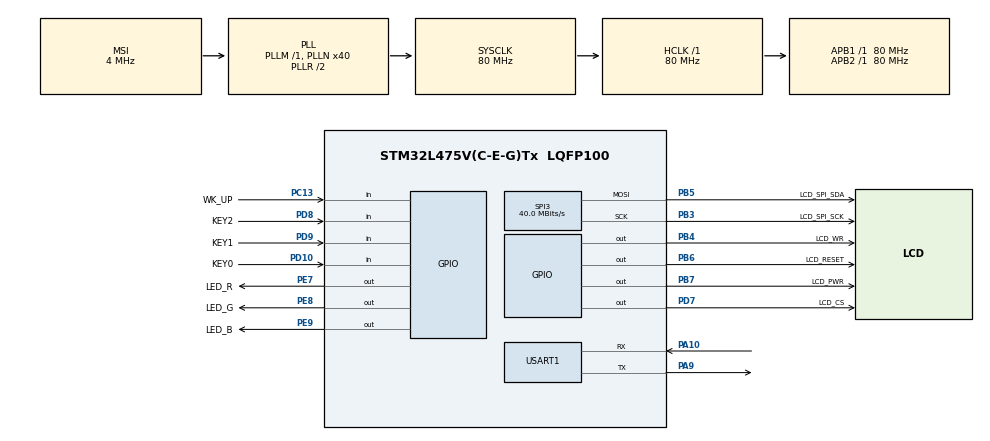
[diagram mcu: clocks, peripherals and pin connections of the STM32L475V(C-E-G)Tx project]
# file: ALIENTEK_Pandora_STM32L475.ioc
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Mcu.Family=STM32L4
Mcu.Name=STM32L475V(C-E-G)Tx
Mcu.Package=LQFP100
NVIC.PriorityGroup=NVIC_PRIORITYGROUP_0
PA10.Mode=Asynchronous
PA10.Signal=USART1_RX
PA13\ (JTMS-SWDIO).Mode=Serial_Wire
PA13\ (JTMS-SWDIO).Signal=SYS_JTMS-SWDIO
PA14\ (JTCK-SWCLK).Mode=Serial_Wire
PA14\ (JTCK-SWCLK).Signal=SYS_JTCK-SWCLK
PA9.Mode=Asynchronous
PA9.Signal=USART1_TX
PB3\ (JTDO-TRACESWO).GPIO_Label=LCD_SPI_SCK
PB3\ (JTDO-TRACESWO).Mode=TX_Only_Simplex_Unidirect_Master
PB3\ (JTDO-TRACESWO).Signal=SPI3_SCK
PB4\ (NJTRST).GPIO_Label=LCD_WR
PB4\ (NJTRST).Signal=GPIO_Output
PB5.GPIO_Label=LCD_SPI_SDA
PB5.Mode=TX_Only_Simplex_Unidirect_Master
PB5.Signal=SPI3_MOSI
PB6.GPIO_Label=LCD_RESET
PB6.Signal=GPIO_Output
PB7.GPIO_Label=LCD_PWR
PB7.Signal=GPIO_Output
PC13.GPIO_Label=WK_UP
PC13.Signal=GPIO_Input
PC14-OSC32_IN\ (PC14).Mode=LSE-External-Oscillator
PC14-OSC32_IN\ (PC14).Signal=RCC_OSC32_IN
PC15-OSC32_OUT\ (PC15).Mode=LSE-External-Oscillator
PC15-OSC32_OUT\ (PC15).Signal=RCC_OSC32_OUT
PD10.GPIO_Label=KEY0
PD10.Signal=GPIO_Input
PD7.GPIO_Label=LCD_CS
PD7.Signal=GPIO_Output
PD8.GPIO_Label=KEY2
PD8.Signal=GPIO_Input
PD9.GPIO_Label=KEY1
PD9.Signal=GPIO_Input
PE7.GPIO_Label=LED_R
PE7.PinState=GPIO_PIN_SET
PE7.Signal=GPIO_Output
PE8.GPIO_Label=LED_G
PE8.PinState=GPIO_PIN_SET
PE8.Signal=GPIO_Output
PE9.GPIO_Label=LED_B
PE9.PinState=GPIO_PIN_SET
PE9.Signal=GPIO_Output
PH0-OSC_IN\ (PH0).Mode=HSE-External-Oscillator
PH0-OSC_IN\ (PH0).Signal=RCC_OSC_IN
PH1-OSC_OUT\ (PH1).Mode=HSE-External-Oscillator
PH1-OSC_OUT\ (PH1).Signal=RCC_OSC_OUT
ProjectManager.HeapSize=0x200
ProjectManager.StackSize=0x400
ProjectManager.TargetToolchain=MDK-ARM V5
RCC.AHBFreq_Value=80000000
RCC.APB1Freq_Value=80000000
RCC.APB1TimFreq_Value=80000000
RCC.APB2Freq_Value=80000000
RCC.APB2TimFreq_Value=80000000
RCC.CortexFreq_Value=80000000
RCC.HCLKFreq_Value=80000000
RCC.HSE_VALUE=8000000
RCC.HSI_VALUE=16000000
RCC.MSI_VALUE=4000000
RCC.PLLN=40
RCC.SYSCLKFreq_VALUE=80000000
RCC.SYSCLKSource=RCC_SYSCLKSOURCE_PLLCLK
RCC.VCOOutputFreq_Value=160000000
SPI3.CLKPhase=SPI_PHASE_2EDGE
SPI3.CLKPolarity=SPI_POLARITY_HIGH
SPI3.CalculateBaudRate=40.0 MBits/s
SPI3.DataSize=SPI_DATASIZE_8BIT
SPI3.Direction=SPI_DIRECTION_2LINES
SPI3.Mode=SPI_MODE_MASTER
SPI3.VirtualType=VM_MASTER
USART1.VirtualMode-Asynchronous=VM_ASYNC
board=custom

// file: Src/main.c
/* USER CODE BEGIN Header */
/**
  ******************************************************************************
  * @file           : main.c
  * @brief          : Main program body
  ******************************************************************************
  * @attention
  *
  * <h2><center>&copy; Copyright (c) 2019 STMicroelectronics.
  * All rights reserved.</center></h2>
  *
  * This software component is licensed by ST under BSD 3-Clause license,
  * the "License"; You may not use this file except in compliance with the
  * License. You may obtain a copy of the License at:
  *                        opensource.org/licenses/BSD-3-Clause
  *
  ******************************************************************************
  */
/* USER CODE END Header */

#include "main.h"
#include "spi.h"
#include "usart.h"
#include "gpio.h"

/* USER CODE BEGIN Includes */
#include "los_base.h"
#include "mcu_init.h"
#include "los_inspect_entry.h"
#include "lcd.h"
#include "liteos_logo.h"

#include "los_task.h"
#include "los_api_task.h"
/* USER CODE END Includes */

void SystemClock_Config(void);

/* USER CODE BEGIN 0 */
static UINT32 g_Task1_Handle;
static UINT32 g_Task2_Handle;

#define TSK_PRIOR_HI 4
#define TSK_PRIOR_LO 5

static VOID *Example_Task1(UINT32 uwArg);
static VOID *Example_Task2(UINT32 uwArg);
UINT32 CreatAppTask(void);
/********************************************************/
//LCD刷屏时使用的颜色
int lcd_discolor[13] = {WHITE, BLUE, BRED, GRED, GBLUE, RED, MAGENTA,
                        GREEN, CYAN, YELLOW, BROWN, BRRED, GRAY};

/********************************************************/

/* USER CODE END 0 */

int main(void)
{

    /* MCU Configuration--------------------------------------------------------*/

    /* Reset of all peripherals, Initializes the Flash interface and the Systick. */
    HAL_Init();

    /* Configure the system clock */
    SystemClock_Config();

    /* Initialize all configured peripherals */
    MX_GPIO_Init();
    MX_USART1_UART_Init();
    MX_SPI3_Init();
    /* USER CODE BEGIN 2 */

    LCD_Init();
    LCD_DisplayOn();
    LCD_Show_Image(10, 14, 220, 50, gImage_liteos_logo);

    BACK_COLOR = WHITE;
    POINT_COLOR = BLUE;
    LCD_ShowString(10, 64, 240, 24, 24, "Pandora STM32L475");

    POINT_COLOR = RED;
    LCD_ShowString(10, 96, 240, 16, 16, "QinYUN575"
                                        "@" __DATE__);

    printf("MCU Hardware Initialize OK!\r\n");
    printf("\r\n===========================================================\r\n");
    printf("\r\n");
    printf("\tWelcome to Huawei LiteOS\r\n");
    printf("\tCompile Time:%s, %s\r\n", __TIME__, __DATE__);
    printf("\tCoding by QinYUN575\r\n");
    printf("\r\n");
    printf("===========================================================\r\n");

    if (LOS_OK != LOS_KernelInit())
    {
        printf("LiteOS Kernel Initialize Error!\r\n");
        return LOS_NOK;
    }

    printf("LiteOS Kernel Initialize Successful!\r\n");
    LOS_Inspect_Entry();
    CreatAppTask();
    LOS_Start();
    /* USER CODE END 2 */

    /* Infinite loop */
    while (1)
    {

    }
}

void SystemClock_Config(void)
{
    RCC_OscInitTypeDef RCC_OscInitStruct = {0};
    RCC_ClkInitTypeDef RCC_ClkInitStruct = {0};
    RCC_PeriphCLKInitTypeDef PeriphClkInit = {0};

    /** Configure LSE Drive Capability
  */
    HAL_PWR_EnableBkUpAccess();
    __HAL_RCC_LSEDRIVE_CONFIG(RCC_LSEDRIVE_LOW);
    /** Initializes the CPU, AHB and APB busses clocks
  */
    RCC_OscInitStruct.OscillatorType = RCC_OSCILLATORTYPE_LSE | RCC_OSCILLATORTYPE_MSI;
    RCC_OscInitStruct.LSEState = RCC_LSE_ON;
    RCC_OscInitStruct.MSIState = RCC_MSI_ON;
    RCC_OscInitStruct.MSICalibrationValue = 0;
    RCC_OscInitStruct.MSIClockRange = RCC_MSIRANGE_6;
    RCC_OscInitStruct.PLL.PLLState = RCC_PLL_ON;
    RCC_OscInitStruct.PLL.PLLSource = RCC_PLLSOURCE_MSI;
    RCC_OscInitStruct.PLL.PLLM = 1;
    RCC_OscInitStruct.PLL.PLLN = 40;
    RCC_OscInitStruct.PLL.PLLP = RCC_PLLP_DIV7;
    RCC_OscInitStruct.PLL.PLLQ = RCC_PLLQ_DIV2;
    RCC_OscInitStruct.PLL.PLLR = RCC_PLLR_DIV2;
    if (HAL_RCC_OscConfig(&RCC_OscInitStruct) != HAL_OK)
    {
        Error_Handler();
    }
    /** Initializes the CPU, AHB and APB busses clocks
  */
    RCC_ClkInitStruct.ClockType = RCC_CLOCKTYPE_HCLK | RCC_CLOCKTYPE_SYSCLK | RCC_CLOCKTYPE_PCLK1 | RCC_CLOCKTYPE_PCLK2;
    RCC_ClkInitStruct.SYSCLKSource = RCC_SYSCLKSOURCE_PLLCLK;
    RCC_ClkInitStruct.AHBCLKDivider = RCC_SYSCLK_DIV1;
    RCC_ClkInitStruct.APB1CLKDivider = RCC_HCLK_DIV1;
    RCC_ClkInitStruct.APB2CLKDivider = RCC_HCLK_DIV1;

    if (HAL_RCC_ClockConfig(&RCC_ClkInitStruct, FLASH_LATENCY_4) != HAL_OK)
    {
        Error_Handler();
    }
    PeriphClkInit.PeriphClockSelection = RCC_PERIPHCLK_USART1;
    PeriphClkInit.Usart1ClockSelection = RCC_USART1CLKSOURCE_PCLK2;
    if (HAL_RCCEx_PeriphCLKConfig(&PeriphClkInit) != HAL_OK)
    {
        Error_Handler();
    }
    /** Configure the main internal regulator output voltage
  */
    if (HAL_PWREx_ControlVoltageScaling(PWR_REGULATOR_VOLTAGE_SCALE1) != HAL_OK)
    {
        Error_Handler();
    }
    /** Enable MSI Auto calibration
  */
    HAL_RCCEx_EnableMSIPLLMode();
}

/* USER CODE BEGIN 4 */

UINT32 CreatAppTask(void)
{
    UINT32 uwRet = LOS_OK;
    TSK_INIT_PARAM_S task_init_param;

    // 创建第一个任务 Task_LED
    task_init_param.usTaskPrio = 2;
    task_init_param.pcName = "Task Led";
    task_init_param.pfnTaskEntry = (TSK_ENTRY_FUNC)Example_Task1;
    task_init_param.uwStackSize = 0x400;
    uwRet = LOS_TaskCreate(&g_Task1_Handle, &task_init_param);
    if (LOS_OK != uwRet)
        return uwRet;

    // 创建第二个任务 Task_Red
    task_init_param.usTaskPrio = 3;
    task_init_param.pcName = "Task Red";
    task_init_param.pfnTaskEntry = (TSK_ENTRY_FUNC)Example_Task2;
    task_init_param.uwStackSize = 0x400;
    uwRet = LOS_TaskCreate(&g_Task2_Handle, &task_init_param);
    if (LOS_OK != uwRet)
        return uwRet;

    return uwRet;
}
/**
* Taks1_task 任务函数
*
*/
// void entry_task1(void *arg)
static VOID *Example_Task1(UINT32 uwArg)
{
    uint8_t task1_count = 0;
    POINT_COLOR = BLUE;
    LCD_ShowString(10, 120, 215, 12, 12, "Task1 Run:");
    POINT_COLOR = BLACK;
    LCD_DrawRectangle(10, 140, 90, 220);

    while (1)
    {
        LCD_Fill(11, 141, 89, 219, lcd_discolor[task1_count++ % 13]);
        LCD_ShowNum(75, 120, task1_count, 3, 12);
        HAL_GPIO_TogglePin(GPIOE, LED_R_Pin);
        LOS_TaskDelay(800);
    }
}

/**
* Taks2_task 任务函数
*
*/
// void entry_task2(void *arg)
static VOID *Example_Task2(UINT32 uwArg)
{
    uint8_t task2_count = 0;

    POINT_COLOR = BLUE;
    LCD_ShowString(135, 120, 215, 12, 12, "Task2 Run:");
    POINT_COLOR = BLACK;
    LCD_DrawRectangle(135, 140, 215, 220);
    while (1)
    {
        LCD_Fill(136, 141, 214, 219, lcd_discolor[task2_count++ % 13]);
        LCD_ShowNum(195, 120, task2_count, 3, 12);
        HAL_GPIO_TogglePin(GPIOE, LED_B_Pin);
        LOS_TaskDelay(500);
    }
}

/* USER CODE END 4 */

void Error_Handler(void)
{
}

/************************ (C) COPYRIGHT STMicroelectronics *****END OF FILE****/
